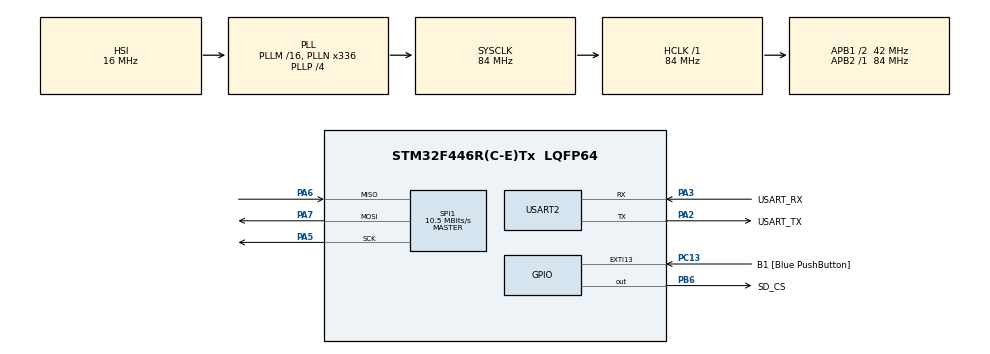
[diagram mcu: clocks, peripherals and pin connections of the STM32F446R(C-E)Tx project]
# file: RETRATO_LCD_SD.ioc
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FATFS._MAX_SS=4096
FATFS._USE_LFN=1
Mcu.Family=STM32F4
Mcu.Name=STM32F446R(C-E)Tx
Mcu.Package=LQFP64
NVIC.PriorityGroup=NVIC_PRIORITYGROUP_0
PA13.GPIO_Label=TMS
PA13.Mode=Serial_Wire
PA13.Signal=SYS_JTMS-SWDIO
PA14.GPIO_Label=TCK
PA14.Mode=Serial_Wire
PA14.Signal=SYS_JTCK-SWCLK
PA2.GPIO_Label=USART_TX
PA2.Mode=Asynchronous
PA2.Signal=USART2_TX
PA3.GPIO_Label=USART_RX
PA3.Mode=Asynchronous
PA3.Signal=USART2_RX
PA5.Mode=Full_Duplex_Master
PA5.Signal=SPI1_SCK
PA6.Mode=Full_Duplex_Master
PA6.Signal=SPI1_MISO
PA7.Mode=Full_Duplex_Master
PA7.Signal=SPI1_MOSI
PB3.GPIO_Label=SWO
PB3.Signal=SYS_JTDO-SWO
PB6.GPIO_Label=SD_CS
PB6.GPIO_Speed=GPIO_SPEED_FREQ_MEDIUM
PB6.PinState=GPIO_PIN_SET
PB6.Signal=GPIO_Output
PC13.GPIO_Label=B1 [Blue PushButton]
PC13.GPIO_ModeDefaultEXTI=GPIO_MODE_IT_FALLING
PC13.Signal=GPXTI13
PC14-OSC32_IN.Mode=LSE-External-Oscillator
PC14-OSC32_IN.Signal=RCC_OSC32_IN
PC15-OSC32_OUT.Mode=LSE-External-Oscillator
PC15-OSC32_OUT.Signal=RCC_OSC32_OUT
PH0-OSC_IN.Mode=HSE-External-Oscillator
PH0-OSC_IN.Signal=RCC_OSC_IN
PH1-OSC_OUT.Mode=HSE-External-Oscillator
PH1-OSC_OUT.Signal=RCC_OSC_OUT
ProjectManager.HeapSize=0x200
ProjectManager.StackSize=0x400
ProjectManager.TargetToolchain=STM32CubeIDE
RCC.48MHZClocksFreq_Value=84000000
RCC.AHBFreq_Value=84000000
RCC.APB1CLKDivider=RCC_HCLK_DIV2
RCC.APB1Freq_Value=42000000
RCC.APB1TimFreq_Value=84000000
RCC.APB2Freq_Value=84000000
RCC.APB2TimFreq_Value=84000000
RCC.CortexFreq_Value=84000000
RCC.FLatency-AdvancedSettings=FLASH_LATENCY_2
RCC.HCLKFreq_Value=84000000
RCC.HSE_VALUE=8000000
RCC.HSI_VALUE=16000000
RCC.PLLN=336
RCC.PLLP=RCC_PLLP_DIV4
RCC.SYSCLKFreq_VALUE=84000000
RCC.SYSCLKSource=RCC_SYSCLKSOURCE_PLLCLK
RCC.USBFreq_Value=168000000
RCC.VCOOutputFreq_Value=336000000
SPI1.BaudRatePrescaler=SPI_BAUDRATEPRESCALER_8
SPI1.CalculateBaudRate=10.5 MBits/s
SPI1.Direction=SPI_DIRECTION_2LINES
SPI1.Mode=SPI_MODE_MASTER
SPI1.VirtualType=VM_MASTER
TIM1.Period=65535-1
TIM1.Prescaler=84-1
USART2.VirtualMode=VM_ASYNC
VP_FATFS_VS_Generic.Mode=User_defined
VP_TIM1_VS_ClockSourceINT.Mode=Internal
board=NUCLEO-F446RE

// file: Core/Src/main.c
/* USER CODE BEGIN Header */
/**
  ******************************************************************************
  * @file           : main.c
  * @brief          : Main program body
  ******************************************************************************
  * @attention
  *
  * <h2><center>&copy; Copyright (c) 2021 STMicroelectronics.
  * All rights reserved.</center></h2>
  *
  * This software component is licensed by ST under BSD 3-Clause license,
  * the "License"; You may not use this file except in compliance with the
  * License. You may obtain a copy of the License at:
  *                        opensource.org/licenses/BSD-3-Clause
  *
  ******************************************************************************
  */
/* USER CODE END Header */
#include "main.h"
#include "fatfs.h"

/* USER CODE BEGIN Includes */
#include "fatfs_sd.h"
#include <string.h>
#include <stdio.h>
#include  "functions.h"
#include "fonts.h"
#include "tft.h"
#include "user_setting.h"

/* USER CODE END Includes */

SPI_HandleTypeDef hspi1;

TIM_HandleTypeDef htim1;

UART_HandleTypeDef huart2;

void SystemClock_Config(void);
static void MX_GPIO_Init(void);
static void MX_USART2_UART_Init(void);
static void MX_SPI1_Init(void);
static void MX_TIM1_Init(void);
/* USER CODE BEGIN PFP */
void LCD_TxBMP(unsigned char* data, unsigned int BitmapStart);
/* USER CODE END PFP */

/* USER CODE BEGIN 0 */

FATFS fs0, fs1; 	/* Work area (filesystem object) for logical drives */
FIL fsrc, fdst; 	/* File objects */
BYTE buffer[4096]; 	/* File copy buffer */
FRESULT fr; 		/* FatFs function common result code */
UINT br, bw; 		/* File read/write count */

/* USER CODE END 0 */

int main(void)
{
  /* USER CODE BEGIN 1 */

	int32_t size;
	char texto[40];
	char nome [10];
	uint32_t first;

  /* USER CODE END 1 */

  /* MCU Configuration--------------------------------------------------------*/

  /* Reset of all peripherals, Initializes the Flash interface and the Systick. */
  HAL_Init();

  /* Configure the system clock */
  SystemClock_Config();

  /* Initialize all configured peripherals */
  MX_GPIO_Init();
  MX_USART2_UART_Init();
  MX_SPI1_Init();
  MX_TIM1_Init();
  MX_FATFS_Init();
  /* USER CODE BEGIN 2 */

	tft_gpio_init(); 			//Inicializa os GPIOs do LCD (evita uso do CubeMX)
	HAL_TIM_Base_Start(&htim1); //Inicializa o Timer1 (base de tempo de us do LCD)
	HAL_Delay(100);
	uint16_t ID = tft_readID();
	tft_init(ID); 				//Inicializa o LCD de acordo com seu ID
	setRotation(0);
	HAL_Delay(100);				//Ajusta a orientação da tela
	fillScreen(BLACK);			//Preenche a tela em uma só cor
	HAL_Delay(100);							//Mensagem de texto
	//printnewtstr(20, YELLOW, &mono12x7bold, 1,(uint8_t *)"Teste SD Card");

/*
 *
 *
 *
 *
 *
 */

	size = sprintf(texto, "Exemplo de LEITURA de BITMAP e escrita no LCD\r\n");
	HAL_UART_Transmit(&huart2, (uint8_t *)texto, size, 100);

	//Prepara a área de trabalho para o FatFs
	fr = f_mount(&fs0, "", 0);
	if(fr != FR_OK)
		{
			size = sprintf(texto, "f_mount error: %d\r\n", (int)fr);
			HAL_UART_Transmit(&huart2, (uint8_t *)texto, size, 100);
			printnewtstr(100, RED, &mono12x7bold, 1,
			(uint8_t *)"Falha!!!");
			return 1;
		}

	while(1)
{
	// Primeira Imagem - A noite estrelada

	first = 1;
						//"Limpa" o buffer
	buffer[0] = 0;
						//Define o nome do arquivo BMP 24 bits a ser aberto
	strcpy(nome, "van.bmp");
						//strcpy(buffer, "Imagens/Lisa.bmp");
						//Abre o arquivo como leitura
	fr = f_open(&fsrc, nome, FA_READ);
						//Se teve sucesso
	if(fr == FR_OK)
	{
						//Loop de leitura de setores (512 bytes), lê até acabar o arquivo
		do
			{
				//Lê um setor do arquivo e armazena no buffer temporário
				fr = f_read(&fsrc,	// [IN] File object
				buffer, 			// [OUT] Buffer to store read data
				512, 				// [IN] Number of bytes to read
				(UINT *)&br); 		// [OUT] Number of bytes read

				//Se ocorrer algum erro mostra na UART e aborta
				if(fr != FR_OK)
					{
						size = sprintf(texto, "f_read error: %d\r\n", (int)fr);
						HAL_UART_Transmit(&huart2, (uint8_t *)texto, size, 100);
					}
				//Termina o bloco lido com um caractere nulo (sem efeito para o LCD)
				buffer[br] = 0;

				//Envia o setor para o LCD
				LCD_TxBMP((unsigned char*)buffer, first);

				//Limpa a flag de primeiro setor (cabeçalho nos primeiros 54 bytes)
				first = 0;
			}	while(br == 512);
				//Repete até a quantidade lida for menor que o buffer, indicação que acabou o arquivo (último pacote)

		//Fecha o arquivo (não é necessário para leitura, mas recomendado para compatibilidade futura)
		fr = f_close(&fsrc);

		//Se teve sucesso
		if (fr == FR_OK)
			{
				size = sprintf(texto, "\r\nArquivo fechado com sucesso\r\n");
				HAL_UART_Transmit(&huart2, (uint8_t *)texto, size, 100);
			}
	}
	if (fr == FR_OK)
		{
			size = sprintf(texto, "\r\nArquivo 1 lido com sucesso\r\n");
			HAL_UART_Transmit(&huart2, (uint8_t *)texto, size, 100);
		}
	HAL_Delay(3000);
	printnewtstr(20, YELLOW, &mono12x7bold, 1,	(uint8_t *)"A Noite Estrelada");
	printnewtstr(50, YELLOW, &mono12x7bold, 1,	(uint8_t *)"Vincent Van Gogh");
	printnewtstr(70, YELLOW, &mono12x7bold, 1, 	(uint8_t *)"Junho 1889");
	HAL_Delay(2000);
	fillScreen(BLACK);
	HAL_Delay(2000);

	//2ª Imagem - Mona Lisa

	first = 1;
	//"Limpa" o buffer
	buffer[0] = 0;
	//Define o nome do arquivo BMP 24 bits a ser aberto

	strcpy(nome, "mona.bmp");

	//Abre o arquivo como leitura
	fr = f_open(&fsrc, nome, FA_READ);

	//Se teve sucesso
	if(fr == FR_OK)
		{
			//Loop de leitura de setores (512 bytes), lê até acabar o arquivo
			do
				{
					//Lê um setor do arquivo e armazena no buffer temporário
					fr = f_read(&fsrc, 	// [IN] File object
							buffer, 			// [OUT] Buffer to store read data
							512, 				// [IN] Number of bytes to read
							(UINT *)&br); 		// [OUT] Number of bytes read

	//Se ocorrer algum erro mostra na UART e aborta
					if(fr != FR_OK)
						{
							size = sprintf(texto, "f_mount error: %d\r\n", (int)fr);
							HAL_UART_Transmit(&huart2, (uint8_t *)texto, size, 100);
						}
					//Termina o bloco lido com um caractere nulo (sem efeito para o LCD)
					buffer[br] = 0;
					//Envia byte a byte em hexa pela UART
					// for (i = 0; i < br; i++)
					// {
					// size = sprintf(texto, "%02X ",buffer[i]);
					// HAL_UART_Transmit(&huart2, (uint8_t *)texto, size, 1000);
					// }
					//Envia o setor para o LCD
					LCD_TxBMP((unsigned char*)buffer, first);
					//Limpa a flag de primeiro setor (cabeçalho nos primeiros 54 bytes)
					first = 0;
				}while(br == 512);
				//Repete até a quantidade lida for menor que o buffer, indicação que acabou o arquivo (último pacote)

			//Fecha o arquivo (não é necessário para leitura, mas recomendado para compatibilidade futura)
			fr = f_close(&fsrc);

			//Se teve sucesso
			if (fr == FR_OK)
				{
					size = sprintf(texto, "\r\nArquivo fechado com sucesso\r\n");
					HAL_UART_Transmit(&huart2, (uint8_t *)texto, size, 100);
				}
		}
	if (fr == FR_OK)
		{
		size = sprintf(texto, "\r\nArquivo 2 lido com sucesso\r\n");
		HAL_UART_Transmit(&huart2, (uint8_t *)texto, size, 100);
		}
	HAL_Delay(3000);
	printnewtstr(200, YELLOW, &mono12x7bold, 1,		(uint8_t *)"Gioconda");
	printnewtstr(220, YELLOW, &mono12x7bold, 1,		(uint8_t *)"Leonardo da Vinci");
	printnewtstr(240, YELLOW, &mono12x7bold, 1,		(uint8_t *)"Ano: 1503");
	HAL_Delay(2000);
	fillScreen(BLACK);
	HAL_Delay(2000);

/*
 * 3ª Imagem - Venus de Milo
 */

	//Primeiro bloco de dados onde está o cabeçalho
	first = 1;

	//Limpa o buffer
	buffer[0]=0;

	//Passa o nome do arquivo BMP que será aberto
	strcpy(nome, "venus.bmp");

	//Abre o arquivo em modo somente leitura
	fr = f_open(&fsrc, nome, FA_READ);

	if(fr == FR_OK)
	{
		do
		{
			fr = f_read(&fsrc, 		//[IN]	Endereço do objeto)
						buffer,		//[OUT]	Buffer para armazenar os dados
						512,		//[IN]	Quantidade de bytes a ser lida
						(UINT *)&br);//[OUT]Número de bytes lidos

			//Se ocorrer erro, informa na UART e cancela a operação
			if(fr != FR_OK)
			{
				size = sprintf(texto, "f_read error: %d\r\n", (int)fr);
				HAL_UART_Transmit(&huart2, (uint8_t *)texto, size, 100);
			}
			//Termina o bloco lido com um caractere nulo
			buffer[br] = 0;

/* Envia byte a byte em hexa pela UART
			for (i = 0; i < br; i++)
				{
					size = sprintf(texto, "%02X ",buffer[i]);
					HAL_UART_Transmit(&huart2, (uint8_t *)texto, size, 1000);
			 	}
*/
			//Envia o setor para o LCD
			LCD_TxBMP((unsigned char*)buffer, first);
			//Limpa a flag de 1º setor, cabeçalho nos 1ºs 54 bytes
			first = 0;
			//Repete até a quantidade lida seja menor que o buffer, indicando EOF
		}	while(br == 512);
	}

		//Fecha o arquivo
		fr = f_close(&fsrc);

		if(fr == FR_OK)
		{
			size = sprintf(texto, "\r\nArquivo 1 lido com sucesso\r\n");
			HAL_UART_Transmit(&huart2, (uint8_t *)texto, size, 100);
		}

		HAL_Delay(3000);
		printnewtstr(30, YELLOW, &mono12x7bold, 1,	(uint8_t *)"Venus");
		printnewtstr(60, YELLOW, &mono12x7bold, 1,	(uint8_t *)"Sandro Botticelli");
		printnewtstr(90, YELLOW, &mono12x7bold, 1,	(uint8_t *)"Ano: 1486");
		HAL_Delay(2000);
		fillScreen(BLACK);
		HAL_Delay(2000);
}

  /* USER CODE END 2 */

  /* Infinite loop */
  while (1)
  {

  }
}

void SystemClock_Config(void)
{
  RCC_OscInitTypeDef RCC_OscInitStruct = {0};
  RCC_ClkInitTypeDef RCC_ClkInitStruct = {0};

  /** Configure the main internal regulator output voltage
  */
  __HAL_RCC_PWR_CLK_ENABLE();
  __HAL_PWR_VOLTAGESCALING_CONFIG(PWR_REGULATOR_VOLTAGE_SCALE3);
  /** Initializes the RCC Oscillators according to the specified parameters
  * in the RCC_OscInitTypeDef structure.
  */
  RCC_OscInitStruct.OscillatorType = RCC_OSCILLATORTYPE_HSI;
  RCC_OscInitStruct.HSIState = RCC_HSI_ON;
  RCC_OscInitStruct.HSICalibrationValue = RCC_HSICALIBRATION_DEFAULT;
  RCC_OscInitStruct.PLL.PLLState = RCC_PLL_ON;
  RCC_OscInitStruct.PLL.PLLSource = RCC_PLLSOURCE_HSI;
  RCC_OscInitStruct.PLL.PLLM = 16;
  RCC_OscInitStruct.PLL.PLLN = 336;
  RCC_OscInitStruct.PLL.PLLP = RCC_PLLP_DIV4;
  RCC_OscInitStruct.PLL.PLLQ = 2;
  RCC_OscInitStruct.PLL.PLLR = 2;
  if (HAL_RCC_OscConfig(&RCC_OscInitStruct) != HAL_OK)
  {
    Error_Handler();
  }
  /** Initializes the CPU, AHB and APB buses clocks
  */
  RCC_ClkInitStruct.ClockType = RCC_CLOCKTYPE_HCLK|RCC_CLOCKTYPE_SYSCLK
                              |RCC_CLOCKTYPE_PCLK1|RCC_CLOCKTYPE_PCLK2;
  RCC_ClkInitStruct.SYSCLKSource = RCC_SYSCLKSOURCE_PLLCLK;
  RCC_ClkInitStruct.AHBCLKDivider = RCC_SYSCLK_DIV1;
  RCC_ClkInitStruct.APB1CLKDivider = RCC_HCLK_DIV2;
  RCC_ClkInitStruct.APB2CLKDivider = RCC_HCLK_DIV1;

  if (HAL_RCC_ClockConfig(&RCC_ClkInitStruct, FLASH_LATENCY_2) != HAL_OK)
  {
    Error_Handler();
  }
}

static void MX_SPI1_Init(void)
{

  /* SPI1 parameter configuration*/
  hspi1.Instance = SPI1;
  hspi1.Init.Mode = SPI_MODE_MASTER;
  hspi1.Init.Direction = SPI_DIRECTION_2LINES;
  hspi1.Init.DataSize = SPI_DATASIZE_8BIT;
  hspi1.Init.CLKPolarity = SPI_POLARITY_LOW;
  hspi1.Init.CLKPhase = SPI_PHASE_1EDGE;
  hspi1.Init.NSS = SPI_NSS_SOFT;
  hspi1.Init.BaudRatePrescaler = SPI_BAUDRATEPRESCALER_8;
  hspi1.Init.FirstBit = SPI_FIRSTBIT_MSB;
  hspi1.Init.TIMode = SPI_TIMODE_DISABLE;
  hspi1.Init.CRCCalculation = SPI_CRCCALCULATION_DISABLE;
  hspi1.Init.CRCPolynomial = 10;
  if (HAL_SPI_Init(&hspi1) != HAL_OK)
  {
    Error_Handler();
  }

}

static void MX_TIM1_Init(void)
{

  TIM_ClockConfigTypeDef sClockSourceConfig = {0};
  TIM_MasterConfigTypeDef sMasterConfig = {0};

  htim1.Instance = TIM1;
  htim1.Init.Prescaler = 84-1;
  htim1.Init.CounterMode = TIM_COUNTERMODE_UP;
  htim1.Init.Period = 65535-1;
  htim1.Init.ClockDivision = TIM_CLOCKDIVISION_DIV1;
  htim1.Init.RepetitionCounter = 0;
  htim1.Init.AutoReloadPreload = TIM_AUTORELOAD_PRELOAD_DISABLE;
  if (HAL_TIM_Base_Init(&htim1) != HAL_OK)
  {
    Error_Handler();
  }
  sClockSourceConfig.ClockSource = TIM_CLOCKSOURCE_INTERNAL;
  if (HAL_TIM_ConfigClockSource(&htim1, &sClockSourceConfig) != HAL_OK)
  {
    Error_Handler();
  }
  sMasterConfig.MasterOutputTrigger = TIM_TRGO_RESET;
  sMasterConfig.MasterSlaveMode = TIM_MASTERSLAVEMODE_DISABLE;
  if (HAL_TIMEx_MasterConfigSynchronization(&htim1, &sMasterConfig) != HAL_OK)
  {
    Error_Handler();
  }

}

static void MX_USART2_UART_Init(void)
{

  huart2.Instance = USART2;
  huart2.Init.BaudRate = 115200;
  huart2.Init.WordLength = UART_WORDLENGTH_8B;
  huart2.Init.StopBits = UART_STOPBITS_1;
  huart2.Init.Parity = UART_PARITY_NONE;
  huart2.Init.Mode = UART_MODE_TX_RX;
  huart2.Init.HwFlowCtl = UART_HWCONTROL_NONE;
  huart2.Init.OverSampling = UART_OVERSAMPLING_16;
  if (HAL_UART_Init(&huart2) != HAL_OK)
  {
    Error_Handler();
  }

}

static void MX_GPIO_Init(void)
{
  GPIO_InitTypeDef GPIO_InitStruct = {0};

  /* GPIO Ports Clock Enable */
  __HAL_RCC_GPIOC_CLK_ENABLE();
  __HAL_RCC_GPIOH_CLK_ENABLE();
  __HAL_RCC_GPIOA_CLK_ENABLE();
  __HAL_RCC_GPIOB_CLK_ENABLE();

  /*Configure GPIO pin Output Level */
  HAL_GPIO_WritePin(SD_CS_GPIO_Port, SD_CS_Pin, GPIO_PIN_SET);

  /*Configure GPIO pin : B1_Pin */
  GPIO_InitStruct.Pin = B1_Pin;
  GPIO_InitStruct.Mode = GPIO_MODE_IT_FALLING;
  GPIO_InitStruct.Pull = GPIO_NOPULL;
  HAL_GPIO_Init(B1_GPIO_Port, &GPIO_InitStruct);

  /*Configure GPIO pin : SD_CS_Pin */
  GPIO_InitStruct.Pin = SD_CS_Pin;
  GPIO_InitStruct.Mode = GPIO_MODE_OUTPUT_PP;
  GPIO_InitStruct.Pull = GPIO_NOPULL;
  GPIO_InitStruct.Speed = GPIO_SPEED_FREQ_MEDIUM;
  HAL_GPIO_Init(SD_CS_GPIO_Port, &GPIO_InitStruct);

}

/* USER CODE BEGIN 4 */

void LCD_TxBMP(unsigned char* data, unsigned int BitmapStart)
{
static unsigned int tamanho = 0;
static unsigned char sobrou[3] = {0,0,0};
unsigned int i = 0;
unsigned int setor = 512;
unsigned short int cor;
unsigned char tam[11];
//Leandro (22/09/2020) - Ajuste para ler imagens com dimensões maiores que um byte (320x240)
// unsigned char altura, x = 0, y = 127, bits_por_pixel;
unsigned char bits_por_pixel;
unsigned int altura, x = 0, y = 239; //Formato "paisagem"
// unsigned int altura, x = 0, y = 319; //Formato "retrato"
const unsigned int lim_altura = 240, lim_largura = 320; //Formato "paisagem" - enviar comando setRotation(1);
// const unsigned int lim_altura = 320, lim_largura = 240; //Formato "retrato" - enviar comando setRotation(0);
// static unsigned char largura = 0, erro_bits = 0, bytes_extras = 0, pixels_por_linha = 0;
static unsigned int largura = 0, pixels_por_linha = 0;
static unsigned char erro_bits = 0, bytes_extras = 0;
//Se é o primeiro setor do arquivo, possui o cabeçalho
if(BitmapStart)
{
BitmapStart = 0;
//Reseta variável estática
pixels_por_linha = 0;
//Pula o cabeçalho
i = 54;
//Lê o tamanho da área de dados do arquivo em bytes
tamanho = data[0x22] + (unsigned int)(data[0x23]<<8) + (unsigned int)(data[0x24]<<16) + (unsigned int)(data[0x25]<<24);
//Leandro (22/09/2020) - Ajuste para ler imagens com dimensões maiores que um byte (320x240)
// //Leandro (01/09/2019) - Lê a largura e a altura da imagem para definir o tamanho da janela
// largura = data[18];
// altura = data[22];
largura = data[18] + (unsigned int)(data[19]<<8);
altura = data[22] + (unsigned int)(data[23]<<8);
//Configura a janela
setAddrWindow(x, y-altura+1, x+largura-1, y);
//Envia para o LCD sinalização de início de envio de dados

inicioDados();
//Verifica se existirão bytes extras no arquivo em função da largura da imagem
//Obervação: Existe uma restrição de que cada linha deva ter N bytes, sendo N um número
//divisível por 4. Caso contrário, o BMP deve ser preenchido com bytes não válidos. Por
//exemplo, se a imagem tem 1 x 100 pixels em 24 bits/pixel, o BMP teria 3 bytes válidos em
//cada linha e mais 1 byte que não tem qualquer significado.
switch((largura*3)%4)
{
case 1: bytes_extras = 3; break;
case 2: bytes_extras = 2; break;
case 3: bytes_extras = 1; break;
default: bytes_extras = 0; break;
}
//Lê a quantidade de bits por pixel (neste caso é aceito apenas 24 bits por pixel)
bits_por_pixel = data[28];
//Testa a quatidade de bits
//Leandro (22/09/2020) - Ajuste para ler imagens com dimensões maiores que um byte (320x240)
// if((bits_por_pixel != 24) || (largura > 128) || (altura > 128))
if((bits_por_pixel != 24) || (largura > lim_largura) || (altura > lim_altura))
erro_bits = 1;
else
erro_bits = 0;
}
//Se houver erro na quantidade de bits retorna e não envia para o LCD
if(erro_bits)
{
return;
}
//Envia os pixels enquanto não acabar o setor ou o Bitmap
while((i <= (512-3)) && (tamanho >= 3)) //24 bits por pixels
{
//Se completou uma linha
if(pixels_por_linha == largura)
{
//Zera o contador
pixels_por_linha = 0;
//Verifica se tem bytes nulos para ignorar
if(bytes_extras >= sobrou[0])
{
//Desconta os bytes_extras-sobrou[0] do tamanho do setor
tamanho -= (bytes_extras-sobrou[0]);
//Incrementa a posição do byte a ser lido do setor
i += (bytes_extras-sobrou[0]);
//Atualiza o valor da sobra
sobrou[0] = 0;
//Verifica se não cabe mais nenhum pixel, encerra o loop
if((i>(512-3)) || (tamanho < 3))
break;
}
else
{
//Atualiza o valor da sobra
sobrou[0] -= bytes_extras;
}
//break;
if(tamanho<3)
break;
}
if(sobrou[0] == 0) //Tamanho -= 3
{
//((r & 0xF8) << 8) | ((g & 0xFC) << 3) | (b >> 3);
//Seguencia BGR (24 bits) --> RGB (565)
cor = (data[i] >> 3) | ((data[i+1] & 0xFC) << 3) | ((data[i+2] & 0xF8) << 8);
i += 3;
tamanho -= 3;
}
else if(sobrou[0] == 1) //Tamanho -= 2
{
//Sobrou a cor Azul
cor = (sobrou[2] >> 3) | ((data[i] & 0xFC) << 3) | ((data[i+1] & 0xF8) << 8);
i += 2;
tamanho -= 2;
}
else if(sobrou[0] == 2) //Tamanho -= 1
{
//Sobrou a cor Azul e Verde
cor = (sobrou[1] >> 3) | ((sobrou[2] & 0xFC) << 3) | ((data[i] & 0xF8) << 8);
i += 1;
tamanho -= 1;
}
else
{
i = 512;
setor = 0;
tamanho = 0;
break;
}
//Envia pixel 565 para o LCD
desenhaPixel(cor);
sobrou[0] = 0; //Sobra algum byte apenas no final do setor (i>= 510)
//Incrementa o número de pixels enviados por linha e testa
pixels_por_linha++;
}
//Se ainda não acabou o arquivo
if(tamanho >= 3)
{
//Salva o número de bytes que sobraram para formar um pixel
sobrou[0] = 512 - i;
//Completa os 512 bytes do setor
tamanho -= sobrou[0];
//Salva o penúltimo byte
sobrou[1] = data[510];
//Salva o último byte
sobrou[2] = data[511];
}
else
{
//Envia para o LCD sinalização de fim de envio de dados
fimDados();
}
}

/* USER CODE END 4 */

void Error_Handler(void)
{
  /* USER CODE BEGIN Error_Handler_Debug */
  /* User can add his own implementation to report the HAL error return state */
  __disable_irq();
// while (1)
// {
// }
  /* USER CODE END Error_Handler_Debug */
}

/************************ (C) COPYRIGHT STMicroelectronics *****END OF FILE****/
